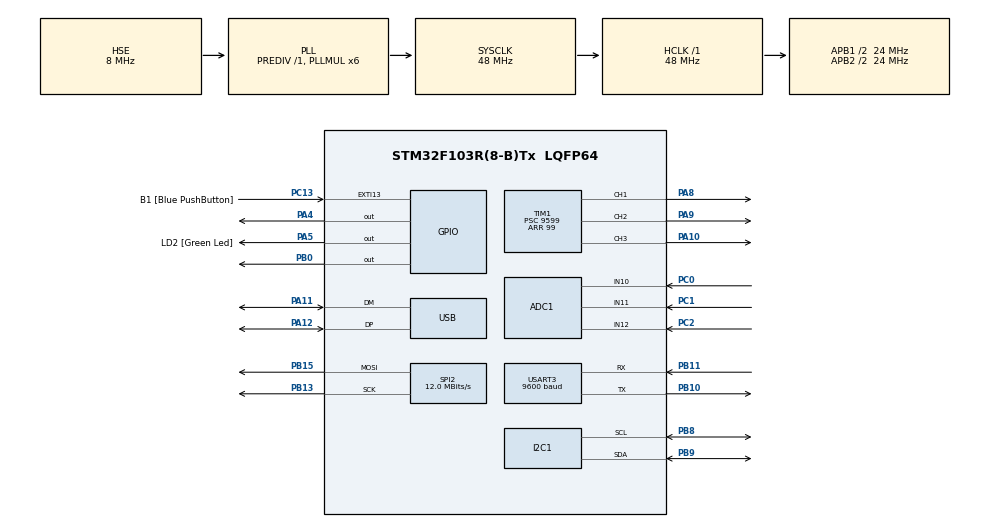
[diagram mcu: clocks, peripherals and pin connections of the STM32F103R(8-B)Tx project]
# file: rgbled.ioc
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ADC1.Channel-0\#ChannelRegularConversion=ADC_CHANNEL_10
ADC1.ContinuousConvMode=ENABLE
ADC1.NbrOfConversionFlag=1
ADC1.Rank-0\#ChannelRegularConversion=1
ADC1.SamplingTime-0\#ChannelRegularConversion=ADC_SAMPLETIME_55CYCLES_5
ADC1.master=1
Mcu.Family=STM32F1
Mcu.Name=STM32F103R(8-B)Tx
Mcu.Package=LQFP64
NVIC.EXTI15_10_IRQn=true\:0\:0\:false\:false\:true\:true\:true\:true
NVIC.PriorityGroup=NVIC_PRIORITYGROUP_4
NVIC.USART3_IRQn=true\:0\:0\:false\:false\:true\:true\:true\:true
NVIC.USB_LP_CAN1_RX0_IRQn=true\:0\:0\:false\:false\:true\:false\:true\:true
PA10.Signal=S_TIM1_CH3
PA11.Mode=Device
PA11.Signal=USB_DM
PA12.Mode=Device
PA12.Signal=USB_DP
PA13.GPIO_Label=TMS
PA13.Mode=Serial_Wire
PA13.Signal=SYS_JTMS-SWDIO
PA14.GPIO_Label=TCK
PA14.Mode=Serial_Wire
PA14.Signal=SYS_JTCK-SWCLK
PA4.Signal=GPIO_Output
PA5.GPIO_Label=LD2 [Green Led]
PA5.GPIO_ModeDefaultOutputPP=GPIO_MODE_OUTPUT_PP
PA5.GPIO_PuPd=GPIO_NOPULL
PA5.GPIO_Speed=GPIO_SPEED_FREQ_LOW
PA5.Signal=GPIO_Output
PA8.Signal=S_TIM1_CH1
PA9.Signal=S_TIM1_CH2
PB0.Signal=GPIO_Output
PB10.Mode=Asynchronous
PB10.Signal=USART3_TX
PB11.Mode=Asynchronous
PB11.Signal=USART3_RX
PB13.Mode=TX_Only_Simplex_Unidirect_Master
PB13.Signal=SPI2_SCK
PB15.Mode=TX_Only_Simplex_Unidirect_Master
PB15.Signal=SPI2_MOSI
PB3.GPIO_Label=SWO
PB3.Signal=SYS_JTDO-TRACESWO
PB8.Mode=I2C
PB8.Signal=I2C1_SCL
PB9.Mode=I2C
PB9.Signal=I2C1_SDA
PC0.Signal=ADCx_IN10
PC1.Signal=ADCx_IN11
PC13-TAMPER-RTC.GPIO_Label=B1 [Blue PushButton]
PC13-TAMPER-RTC.GPIO_PuPd=GPIO_NOPULL
PC13-TAMPER-RTC.Signal=GPXTI13
PC2.Signal=ADCx_IN12
PD0-OSC_IN.Mode=HSE-External-Oscillator
PD0-OSC_IN.Signal=RCC_OSC_IN
PD1-OSC_OUT.Mode=HSE-External-Oscillator
PD1-OSC_OUT.Signal=RCC_OSC_OUT
ProjectManager.HeapSize=0x200
ProjectManager.StackSize=0x400
ProjectManager.TargetToolchain=STM32CubeIDE
RCC.AHBFreq_Value=48000000
RCC.APB1CLKDivider=RCC_HCLK_DIV2
RCC.APB1Freq_Value=24000000
RCC.APB1TimFreq_Value=48000000
RCC.APB2CLKDivider=RCC_HCLK_DIV2
RCC.APB2Freq_Value=24000000
RCC.APB2TimFreq_Value=48000000
RCC.HCLKFreq_Value=48000000
RCC.PLLMUL=RCC_PLL_MUL6
RCC.PLLSourceVirtual=RCC_PLLSOURCE_HSE
RCC.RTCClockSelection=RCC_RTCCLKSOURCE_LSE
RCC.SYSCLKFreq_VALUE=48000000
RCC.SYSCLKSource=RCC_SYSCLKSOURCE_PLLCLK
RCC.USBFreq_Value=48000000
SH.ADCx_IN10.0=ADC1_IN10,IN10
SH.ADCx_IN11.0=ADC1_IN11,IN11
SH.ADCx_IN12.0=ADC1_IN12,IN12
SH.S_TIM1_CH1.0=TIM1_CH1,PWM Generation1 CH1
SH.S_TIM1_CH2.0=TIM1_CH2,PWM Generation2 CH2
SH.S_TIM1_CH3.0=TIM1_CH3,PWM Generation3 CH3
SPI2.CalculateBaudRate=12.0 MBits/s
SPI2.Direction=SPI_DIRECTION_2LINES
SPI2.Mode=SPI_MODE_MASTER
SPI2.VirtualType=VM_MASTER
TIM1.Channel-PWM\ Generation1\ CH1=TIM_CHANNEL_1
TIM1.Channel-PWM\ Generation2\ CH2=TIM_CHANNEL_2
TIM1.Channel-PWM\ Generation3\ CH3=TIM_CHANNEL_3
TIM1.Period=99
TIM1.Prescaler=9599
USART3.BaudRate=9600
USART3.VirtualMode=VM_ASYNC
USB_DEVICE.CLASS_NAME_FS=CUSTOM_HID
USB_DEVICE.PID_CUSTOMHID_FS=2000
USB_DEVICE.USBD_CUSTOMHID_OUTREPORT_BUF_SIZE=64
USB_DEVICE.USBD_CUSTOM_HID_REPORT_DESC_SIZE=33
USB_DEVICE.VID=1001
USB_DEVICE.VirtualMode=CustomHid
USB_DEVICE.VirtualModeFS=Custom_Hid_FS
VP_USB_DEVICE_VS_USB_DEVICE_CUSTOM_HID_FS.Mode=CUSTOM_HID_FS
board=NUCLEO-F103RB

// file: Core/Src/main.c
/* USER CODE BEGIN Header */
/**
  ******************************************************************************
  * @file           : main.c
  * @brief          : Main program body
  ******************************************************************************
  * @attention
  *
  * Copyright (c) 2022 STMicroelectronics.
  * All rights reserved.
  *
  * This software is licensed under terms that can be found in the LICENSE file
  * in the root directory of this software component.
  * If no LICENSE file comes with this software, it is provided AS-IS.
  *
  ******************************************************************************
  */
/* USER CODE END Header */
#include "main.h"
#include "usb_device.h"

/* USER CODE BEGIN Includes */
#include "liquidcrystal_i2c.h"
/* USER CODE END Includes */

ADC_HandleTypeDef hadc1;

I2C_HandleTypeDef hi2c1;

SPI_HandleTypeDef hspi2;

TIM_HandleTypeDef htim1;

UART_HandleTypeDef huart3;

/* USER CODE BEGIN PV */
uint16_t adc1;
uint16_t adc2;
uint16_t adc3;
uint16_t PWM1;
uint16_t PWM2;
uint16_t PWM3;

#define LOWBYTE(v)   ((unsigned char) (v))
#define HIGHBYTE(v)  ((unsigned char) (((unsigned int) (v)) >> 8))

ADC_ChannelConfTypeDef sConfigPrivate = {0};

uint8_t data[10]={0x3F,0x06,0x5B,0x4F,0x66,0x6D,0x7D,0x07,0x7F,0x6F};
/* USER CODE END PV */

void SystemClock_Config(void);
static void MX_GPIO_Init(void);
static void MX_ADC1_Init(void);
static void MX_TIM1_Init(void);
static void MX_I2C1_Init(void);
static void MX_SPI2_Init(void);
static void MX_USART3_UART_Init(void);

/* USER CODE BEGIN 0 */
extern USBD_HandleTypeDef hUsbDeviceFS;
uint8_t USB_RX_Buffer[64];
uint8_t USB_TX_Buffer[64];
char HC06_rx_Buffer[10],HC06_tx_Buffer[10];
/* USER CODE END 0 */

int main(void)
{

  /* MCU Configuration--------------------------------------------------------*/

  /* Reset of all peripherals, Initializes the Flash interface and the Systick. */
  HAL_Init();

  /* Configure the system clock */
  SystemClock_Config();

  /* Initialize all configured peripherals */
  MX_GPIO_Init();
  MX_ADC1_Init();
  MX_TIM1_Init();
  MX_I2C1_Init();
  MX_USB_DEVICE_Init();
  MX_SPI2_Init();
  MX_USART3_UART_Init();
  /* USER CODE BEGIN 2 */
      HD44780_Init(2);
  	  HAL_Delay(10);
  	  HD44780_SetCursor(0,0);
  	  HD44780_PrintStr("Burak Ozsoy");
  	  HD44780_SetCursor(0,1);
  	  HD44780_PrintStr("203302022");
  	  HAL_Delay(5000);
  	  HD44780_NoBacklight();
  	  HAL_Delay(2000);
  	  HD44780_Backlight();
  	  HD44780_Clear();
  	  HD44780_SetCursor(0,0);
  	  HD44780_PrintStr("RGB LED");
  	  HD44780_SetCursor(0,1);
  	  HD44780_PrintStr("UYGULAMASI");

  	HAL_TIM_PWM_Start(&htim1, TIM_CHANNEL_1);
    HAL_TIM_PWM_Start(&htim1, TIM_CHANNEL_2);
    HAL_TIM_PWM_Start(&htim1, TIM_CHANNEL_3);

  /* USER CODE END 2 */

  /* Infinite loop */
  /* USER CODE BEGIN WHILE */
  while (1)
  {
	/////////////////IO////////////////////////////////////
      if(HAL_GPIO_ReadPin(GPIOC,GPIO_PIN_13)==GPIO_PIN_SET)
  {
  	  HAL_GPIO_WritePin(GPIOA,GPIO_PIN_5, GPIO_PIN_SET);
  }
      else
  {
  	HAL_GPIO_WritePin(GPIOA,GPIO_PIN_5,GPIO_PIN_RESET);
   }
      ////////////////////SPI////////////////////////////////

      /*    HAL_GPIO_WritePin(GPIOB, GPIO_PIN_0, GPIO_PIN_RESET); 	// latch pin low
       	    HAL_SPI_Transmit(&hspi2, &data[0], 1, 100); 		    // write data with SPI port
       	    HAL_GPIO_WritePin(GPIOB, GPIO_PIN_0, GPIO_PIN_SET);	//once data is ready set latch pin to HIGH
            HAL_Delay(500);

       	    HAL_GPIO_WritePin(GPIOB, GPIO_PIN_0, GPIO_PIN_RESET);
       	    HAL_SPI_Transmit(&hspi2, &data[1], 1, 100);
       	    HAL_GPIO_WritePin(GPIOB, GPIO_PIN_0, GPIO_PIN_SET);
            HAL_Delay(500);

            HAL_GPIO_WritePin(GPIOB, GPIO_PIN_0, GPIO_PIN_RESET);
       	    HAL_SPI_Transmit(&hspi2, &data[2], 1, 100);
            HAL_GPIO_WritePin(GPIOB, GPIO_PIN_0, GPIO_PIN_SET);
            HAL_Delay(500);

            HAL_GPIO_WritePin(GPIOB, GPIO_PIN_0, GPIO_PIN_RESET);
            HAL_SPI_Transmit(&hspi2, &data[3], 1, 100);
            HAL_GPIO_WritePin(GPIOB, GPIO_PIN_0, GPIO_PIN_SET);
            HAL_Delay(500);

            HAL_GPIO_WritePin(GPIOB, GPIO_PIN_0, GPIO_PIN_RESET);
            HAL_SPI_Transmit(&hspi2, &data[4], 1, 100);
            HAL_GPIO_WritePin(GPIOB, GPIO_PIN_0, GPIO_PIN_SET);
            HAL_Delay(500);

            HAL_GPIO_WritePin(GPIOB, GPIO_PIN_0, GPIO_PIN_RESET);
            HAL_SPI_Transmit(&hspi2, &data[5], 1, 100);
            HAL_GPIO_WritePin(GPIOB, GPIO_PIN_0, GPIO_PIN_SET);
            HAL_Delay(500);

            HAL_GPIO_WritePin(GPIOB, GPIO_PIN_0, GPIO_PIN_RESET);
            HAL_SPI_Transmit(&hspi2, &data[6], 1, 100);
            HAL_GPIO_WritePin(GPIOB, GPIO_PIN_0, GPIO_PIN_SET);
            HAL_Delay(500);

            HAL_GPIO_WritePin(GPIOB, GPIO_PIN_0, GPIO_PIN_RESET);
            HAL_SPI_Transmit(&hspi2, &data[7], 1, 100);
            HAL_GPIO_WritePin(GPIOB, GPIO_PIN_0, GPIO_PIN_SET);
            HAL_Delay(500);

            HAL_GPIO_WritePin(GPIOB, GPIO_PIN_0, GPIO_PIN_RESET);
            HAL_SPI_Transmit(&hspi2, &data[8], 1, 100);
            HAL_GPIO_WritePin(GPIOB, GPIO_PIN_0, GPIO_PIN_SET);
            HAL_Delay(500);

            HAL_GPIO_WritePin(GPIOB, GPIO_PIN_0, GPIO_PIN_RESET);
            HAL_SPI_Transmit(&hspi2, &data[9], 1, 100);
            HAL_GPIO_WritePin(GPIOB, GPIO_PIN_0, GPIO_PIN_SET);
            HAL_Delay(500); */

      ///////////////////////////////UART PROTOKOL//////////////////////////////////////
         /*    HAL_UART_Receive(&huart3,&HC06_rx_Buffer, 50, 500);
     	 	   if(HC06_rx_Buffer[0]== 'o' && HC06_rx_Buffer[1]== 'n')
     	 	 	  {
     	 	 	  HAL_UART_Transmit(&huart3,&HC06_tx_Buffer,10,500);

     	 	 	  HD44780_Clear();
     	 	 	  sprintf(HC06_tx_Buffer,"Led Aktif",100);
     	 	 	  HD44780_SetCursor(0,0);
     	 	 	  HD44780_PrintStr(HC06_tx_Buffer);
     	 	 	  HAL_GPIO_WritePin(GPIOA,GPIO_PIN_4,GPIO_PIN_SET);
     	 	 	  }

     	 	   else if(HC06_rx_Buffer[0]=='o' && HC06_rx_Buffer[1]=='f' && HC06_rx_Buffer[2]=='f')
     	 	 	  {
     	 	 	  HAL_UART_Transmit(&huart3,&HC06_tx_Buffer,10 ,500);

     	 	 	  HD44780_Clear();
     	 	 	  sprintf(HC06_tx_Buffer,"Led Pasif",100);
     	 	 	  HD44780_SetCursor(0,0);
     	 	 	  HD44780_PrintStr(HC06_tx_Buffer);
     	 	 	  HAL_GPIO_WritePin(GPIOA,GPIO_PIN_4,GPIO_PIN_RESET);
     	 	 	  } */

///////////////////////////////ADC-PWM//////////////////////////////////////
          sConfigPrivate.Rank = ADC_REGULAR_RANK_1;
      	  sConfigPrivate.SamplingTime = ADC_SAMPLETIME_55CYCLES_5  ;

      	  sConfigPrivate.Channel = ADC_CHANNEL_10;
      	  HAL_ADC_ConfigChannel(&hadc1, &sConfigPrivate);
      	  HAL_ADC_Start(&hadc1);
      	  HAL_ADC_PollForConversion(&hadc1, 100);
      	  adc1 = HAL_ADC_GetValue(&hadc1);
      	  HAL_ADC_Stop (&hadc1);

      	       USB_TX_Buffer[0]=LOWBYTE(adc1);
      	       USB_TX_Buffer[1]=HIGHBYTE(adc1);

      /////////////////////////////////////////////////////////
      	   sConfigPrivate.Channel = ADC_CHANNEL_11;
      	   HAL_ADC_ConfigChannel(&hadc1, &sConfigPrivate);
      	   HAL_ADC_Start(&hadc1);
      	   HAL_ADC_PollForConversion(&hadc1, 100);
      	   adc2 = HAL_ADC_GetValue(&hadc1);
      	   HAL_ADC_Stop (&hadc1);

      	       	USB_TX_Buffer[2]=LOWBYTE(adc2);
      	       	USB_TX_Buffer[3]=HIGHBYTE(adc2);
      ////////////////////////////////////////////////////////
      	   sConfigPrivate.Channel = ADC_CHANNEL_12;
      	   HAL_ADC_ConfigChannel(&hadc1, &sConfigPrivate);
      	   HAL_ADC_Start(&hadc1);
      	   HAL_ADC_PollForConversion(&hadc1, 100);
      	   adc3 = HAL_ADC_GetValue(&hadc1);
      	   HAL_ADC_Stop (&hadc1);

      	       USB_TX_Buffer[4]=LOWBYTE(adc3);
      	       USB_TX_Buffer[5]=HIGHBYTE(adc3);

      	   USBD_CUSTOM_HID_SendReport(&hUsbDeviceFS,USB_TX_Buffer,64);
      	   HAL_Delay(100);

      	   PWM1 = 100*adc1/4095;
	 	   PWM2 = 100*adc2/4095;
	 	   PWM3 = 100*adc3/4095;

	 	  __HAL_TIM_SET_COMPARE(&htim1,TIM_CHANNEL_1, PWM1);
	 	  __HAL_TIM_SET_COMPARE(&htim1,TIM_CHANNEL_2, PWM2);
	 	  __HAL_TIM_SET_COMPARE(&htim1,TIM_CHANNEL_3, PWM3);
	 	  HAL_Delay(10);

/////////////////////////////////////////////////

    /* USER CODE END WHILE */

  }
}

void SystemClock_Config(void)
{
  RCC_OscInitTypeDef RCC_OscInitStruct = {0};
  RCC_ClkInitTypeDef RCC_ClkInitStruct = {0};
  RCC_PeriphCLKInitTypeDef PeriphClkInit = {0};

  /** Initializes the RCC Oscillators according to the specified parameters
  * in the RCC_OscInitTypeDef structure.
  */
  RCC_OscInitStruct.OscillatorType = RCC_OSCILLATORTYPE_HSE;
  RCC_OscInitStruct.HSEState = RCC_HSE_ON;
  RCC_OscInitStruct.HSEPredivValue = RCC_HSE_PREDIV_DIV1;
  RCC_OscInitStruct.HSIState = RCC_HSI_ON;
  RCC_OscInitStruct.PLL.PLLState = RCC_PLL_ON;
  RCC_OscInitStruct.PLL.PLLSource = RCC_PLLSOURCE_HSE;
  RCC_OscInitStruct.PLL.PLLMUL = RCC_PLL_MUL6;
  if (HAL_RCC_OscConfig(&RCC_OscInitStruct) != HAL_OK)
  {
    Error_Handler();
  }

  /** Initializes the CPU, AHB and APB buses clocks
  */
  RCC_ClkInitStruct.ClockType = RCC_CLOCKTYPE_HCLK|RCC_CLOCKTYPE_SYSCLK
                              |RCC_CLOCKTYPE_PCLK1|RCC_CLOCKTYPE_PCLK2;
  RCC_ClkInitStruct.SYSCLKSource = RCC_SYSCLKSOURCE_PLLCLK;
  RCC_ClkInitStruct.AHBCLKDivider = RCC_SYSCLK_DIV1;
  RCC_ClkInitStruct.APB1CLKDivider = RCC_HCLK_DIV2;
  RCC_ClkInitStruct.APB2CLKDivider = RCC_HCLK_DIV2;

  if (HAL_RCC_ClockConfig(&RCC_ClkInitStruct, FLASH_LATENCY_1) != HAL_OK)
  {
    Error_Handler();
  }
  PeriphClkInit.PeriphClockSelection = RCC_PERIPHCLK_ADC|RCC_PERIPHCLK_USB;
  PeriphClkInit.AdcClockSelection = RCC_ADCPCLK2_DIV2;
  PeriphClkInit.UsbClockSelection = RCC_USBCLKSOURCE_PLL;
  if (HAL_RCCEx_PeriphCLKConfig(&PeriphClkInit) != HAL_OK)
  {
    Error_Handler();
  }
}

static void MX_ADC1_Init(void)
{

  ADC_ChannelConfTypeDef sConfig = {0};

  /** Common config
  */
  hadc1.Instance = ADC1;
  hadc1.Init.ScanConvMode = ADC_SCAN_DISABLE;
  hadc1.Init.ContinuousConvMode = ENABLE;
  hadc1.Init.DiscontinuousConvMode = DISABLE;
  hadc1.Init.ExternalTrigConv = ADC_SOFTWARE_START;
  hadc1.Init.DataAlign = ADC_DATAALIGN_RIGHT;
  hadc1.Init.NbrOfConversion = 1;
  if (HAL_ADC_Init(&hadc1) != HAL_OK)
  {
    Error_Handler();
  }

  /** Configure Regular Channel
  */
  sConfig.Channel = ADC_CHANNEL_10;
  sConfig.Rank = ADC_REGULAR_RANK_1;
  sConfig.SamplingTime = ADC_SAMPLETIME_55CYCLES_5;
  if (HAL_ADC_ConfigChannel(&hadc1, &sConfig) != HAL_OK)
  {
    Error_Handler();
  }

}

static void MX_I2C1_Init(void)
{

  hi2c1.Instance = I2C1;
  hi2c1.Init.ClockSpeed = 100000;
  hi2c1.Init.DutyCycle = I2C_DUTYCYCLE_2;
  hi2c1.Init.OwnAddress1 = 0;
  hi2c1.Init.AddressingMode = I2C_ADDRESSINGMODE_7BIT;
  hi2c1.Init.DualAddressMode = I2C_DUALADDRESS_DISABLE;
  hi2c1.Init.OwnAddress2 = 0;
  hi2c1.Init.GeneralCallMode = I2C_GENERALCALL_DISABLE;
  hi2c1.Init.NoStretchMode = I2C_NOSTRETCH_DISABLE;
  if (HAL_I2C_Init(&hi2c1) != HAL_OK)
  {
    Error_Handler();
  }

}

static void MX_SPI2_Init(void)
{

  /* SPI2 parameter configuration*/
  hspi2.Instance = SPI2;
  hspi2.Init.Mode = SPI_MODE_MASTER;
  hspi2.Init.Direction = SPI_DIRECTION_2LINES;
  hspi2.Init.DataSize = SPI_DATASIZE_8BIT;
  hspi2.Init.CLKPolarity = SPI_POLARITY_LOW;
  hspi2.Init.CLKPhase = SPI_PHASE_1EDGE;
  hspi2.Init.NSS = SPI_NSS_SOFT;
  hspi2.Init.BaudRatePrescaler = SPI_BAUDRATEPRESCALER_2;
  hspi2.Init.FirstBit = SPI_FIRSTBIT_MSB;
  hspi2.Init.TIMode = SPI_TIMODE_DISABLE;
  hspi2.Init.CRCCalculation = SPI_CRCCALCULATION_DISABLE;
  hspi2.Init.CRCPolynomial = 10;
  if (HAL_SPI_Init(&hspi2) != HAL_OK)
  {
    Error_Handler();
  }

}

static void MX_TIM1_Init(void)
{

  TIM_MasterConfigTypeDef sMasterConfig = {0};
  TIM_OC_InitTypeDef sConfigOC = {0};
  TIM_BreakDeadTimeConfigTypeDef sBreakDeadTimeConfig = {0};

  htim1.Instance = TIM1;
  htim1.Init.Prescaler = 9599;
  htim1.Init.CounterMode = TIM_COUNTERMODE_UP;
  htim1.Init.Period = 99;
  htim1.Init.ClockDivision = TIM_CLOCKDIVISION_DIV1;
  htim1.Init.RepetitionCounter = 0;
  htim1.Init.AutoReloadPreload = TIM_AUTORELOAD_PRELOAD_DISABLE;
  if (HAL_TIM_PWM_Init(&htim1) != HAL_OK)
  {
    Error_Handler();
  }
  sMasterConfig.MasterOutputTrigger = TIM_TRGO_RESET;
  sMasterConfig.MasterSlaveMode = TIM_MASTERSLAVEMODE_DISABLE;
  if (HAL_TIMEx_MasterConfigSynchronization(&htim1, &sMasterConfig) != HAL_OK)
  {
    Error_Handler();
  }
  sConfigOC.OCMode = TIM_OCMODE_PWM1;
  sConfigOC.Pulse = 0;
  sConfigOC.OCPolarity = TIM_OCPOLARITY_HIGH;
  sConfigOC.OCNPolarity = TIM_OCNPOLARITY_HIGH;
  sConfigOC.OCFastMode = TIM_OCFAST_DISABLE;
  sConfigOC.OCIdleState = TIM_OCIDLESTATE_RESET;
  sConfigOC.OCNIdleState = TIM_OCNIDLESTATE_RESET;
  if (HAL_TIM_PWM_ConfigChannel(&htim1, &sConfigOC, TIM_CHANNEL_1) != HAL_OK)
  {
    Error_Handler();
  }
  if (HAL_TIM_PWM_ConfigChannel(&htim1, &sConfigOC, TIM_CHANNEL_2) != HAL_OK)
  {
    Error_Handler();
  }
  if (HAL_TIM_PWM_ConfigChannel(&htim1, &sConfigOC, TIM_CHANNEL_3) != HAL_OK)
  {
    Error_Handler();
  }
  sBreakDeadTimeConfig.OffStateRunMode = TIM_OSSR_DISABLE;
  sBreakDeadTimeConfig.OffStateIDLEMode = TIM_OSSI_DISABLE;
  sBreakDeadTimeConfig.LockLevel = TIM_LOCKLEVEL_OFF;
  sBreakDeadTimeConfig.DeadTime = 0;
  sBreakDeadTimeConfig.BreakState = TIM_BREAK_DISABLE;
  sBreakDeadTimeConfig.BreakPolarity = TIM_BREAKPOLARITY_HIGH;
  sBreakDeadTimeConfig.AutomaticOutput = TIM_AUTOMATICOUTPUT_DISABLE;
  if (HAL_TIMEx_ConfigBreakDeadTime(&htim1, &sBreakDeadTimeConfig) != HAL_OK)
  {
    Error_Handler();
  }
  HAL_TIM_MspPostInit(&htim1);

}

static void MX_USART3_UART_Init(void)
{

  huart3.Instance = USART3;
  huart3.Init.BaudRate = 9600;
  huart3.Init.WordLength = UART_WORDLENGTH_8B;
  huart3.Init.StopBits = UART_STOPBITS_1;
  huart3.Init.Parity = UART_PARITY_NONE;
  huart3.Init.Mode = UART_MODE_TX_RX;
  huart3.Init.HwFlowCtl = UART_HWCONTROL_NONE;
  huart3.Init.OverSampling = UART_OVERSAMPLING_16;
  if (HAL_UART_Init(&huart3) != HAL_OK)
  {
    Error_Handler();
  }

}

static void MX_GPIO_Init(void)
{
  GPIO_InitTypeDef GPIO_InitStruct = {0};

  /* GPIO Ports Clock Enable */
  __HAL_RCC_GPIOC_CLK_ENABLE();
  __HAL_RCC_GPIOD_CLK_ENABLE();
  __HAL_RCC_GPIOA_CLK_ENABLE();
  __HAL_RCC_GPIOB_CLK_ENABLE();

  /*Configure GPIO pin Output Level */
  HAL_GPIO_WritePin(GPIOA, GPIO_PIN_4|LD2_Pin, GPIO_PIN_RESET);

  /*Configure GPIO pin Output Level */
  HAL_GPIO_WritePin(GPIOB, GPIO_PIN_0, GPIO_PIN_RESET);

  /*Configure GPIO pin : B1_Pin */
  GPIO_InitStruct.Pin = B1_Pin;
  GPIO_InitStruct.Mode = GPIO_MODE_IT_RISING;
  GPIO_InitStruct.Pull = GPIO_NOPULL;
  HAL_GPIO_Init(B1_GPIO_Port, &GPIO_InitStruct);

  /*Configure GPIO pins : PA4 LD2_Pin */
  GPIO_InitStruct.Pin = GPIO_PIN_4|LD2_Pin;
  GPIO_InitStruct.Mode = GPIO_MODE_OUTPUT_PP;
  GPIO_InitStruct.Pull = GPIO_NOPULL;
  GPIO_InitStruct.Speed = GPIO_SPEED_FREQ_LOW;
  HAL_GPIO_Init(GPIOA, &GPIO_InitStruct);

  /*Configure GPIO pin : PB0 */
  GPIO_InitStruct.Pin = GPIO_PIN_0;
  GPIO_InitStruct.Mode = GPIO_MODE_OUTPUT_PP;
  GPIO_InitStruct.Pull = GPIO_NOPULL;
  GPIO_InitStruct.Speed = GPIO_SPEED_FREQ_LOW;
  HAL_GPIO_Init(GPIOB, &GPIO_InitStruct);

  /* EXTI interrupt init*/
  HAL_NVIC_SetPriority(EXTI15_10_IRQn, 0, 0);
  HAL_NVIC_EnableIRQ(EXTI15_10_IRQn);

}

void Error_Handler(void)
{
  __disable_irq();
  while (1)
  {
  }
}
